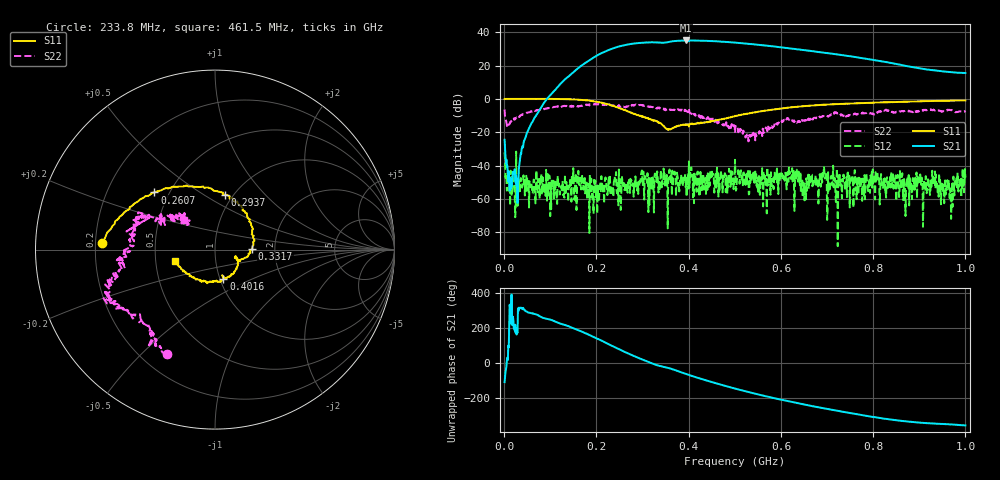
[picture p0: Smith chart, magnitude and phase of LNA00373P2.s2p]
! Created with skrf 1.9.0 (http://scikit-rf.org).
# Hz S RI R 50.0
!freq ReS11 ImS11 ReS21 ImS21 ReS12 ImS12 ReS22 ImS22
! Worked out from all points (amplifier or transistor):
!   1001 points, 1 MHz to 1 GHz, reference 50 ohm
!   highest |S21| = 35.1 dB at 394.6 MHz (marker M1)
!   |S21| within 3 dB of that: 258 MHz to 565.2 MHz (307.2 MHz wide, 74.6 % of centre)
!   unconditionally stable (mu >= 1): 298.8 MHz to 400.4 MHz; 400.8 MHz to 500.4 MHz; 500.6 MHz to end of sweep (the widest 3 of 36)
!   at 166.8 MHz: K = 1.68, MAG = 32.3 dB, |S12| = -54.4 dB
!   at 500.5 MHz: K = 0.96, MSG = 35.2 dB, |S12| = -36.6 dB
!   at 1 GHz: K = 3.48, MAG = 23.0 dB, |S12| = -47.2 dB
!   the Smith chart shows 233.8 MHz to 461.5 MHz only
!   S11 on the Smith chart (normalised r, x): 233.8 MHz: 0.23, +0.03; 260.7 MHz: 0.42, +0.34; 293.7 MHz: 0.92, +0.62; 331.7 MHz: 1.52, +0.01; 401.6 MHz: 1.04, -0.35; 461.5 MHz: 0.63, -0.09
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1000000  0.9938 0.0125  -0.0173 -0.0566  -0.0232 0.00891  0.3057 0.367
1.07893e8  0.5222 -0.8474  -0.7928 -1.506  0.000933 -0.000365  0.4291 -0.3852
1.67833e8  -0.2499 -0.8975  -10.04 -0.3596  0.00456 -0.00093  0.0224 -0.6272
2.05795e8  -0.6631 -0.443  -15.71 14.93  -0.000922 -0.000136  -0.1955 -0.6718
2.33767e8  -0.6307 0.0351  -5.548 31.58  0.00189 -0.000278  -0.2668 -0.5792
2.6074e8  -0.3375 0.3182  16.23 37.55  -0.000794 0.00164  -0.3991 -0.4101
2.93707e8  0.0555 0.3045  41.95 22.57  -0.00236 -0.000424  -0.5973 -0.2602
3.11689e8  0.1778 0.1915  48.56 7.849  -0.00427 0.000628  -0.5788 -0.1777
3.31669e8  0.2066 0.00193  48.35 -8.714  0.00445 0.00498  -0.5017 -0.1038
3.34666e8  0.1966 -0.0132  47.83 -10.9  0.00103 0.00115  -0.536 -0.0649
3.68632e8  0.1256 -0.0605  43.62 -32.4  0.0011 0.00498  -0.4538 0.1455
3.94606e8  0.0803 -0.1523  27.64 -49.44  -0.00135 0.00395  -0.4077 0.1759
4.01599e8  0.0468 -0.1642  22.18 -51.95  0.0019 0.00106  -0.3596 0.1835
4.31569e8  -0.1025 -0.1649  -1.757 -55.53  0.00485 0.00289  -0.2196 0.1665
4.61539e8  -0.2226 -0.0646  -22.82 -48.07  0.00398 0.00769  -0.1705 0.1648
5.005e8  -0.2733 0.1452  -39.52 -28.84  0.0137 0.00572  -0.0766 0.0562
5.4046e8  -0.1861 0.3428  -42.75 -7.212  0.00575 0.00207  -0.0961 -0.000819
5.85415e8  0.00765 0.4839  -35.41 11.9  0.00326 -0.00194  -0.1395 -0.0648
6.67333e8  0.4004 0.4868  -12.04 24.1  0.00447 -0.00283  -0.2498 -0.0556
7.53247e8  0.674 0.2709  4.858 18.03  -0.00253 -0.00403  -0.3253 0.0194
8.34166e8  0.794 0.014  9.276 8.087  -0.00264 0.00261  -0.429 0.0813
1e9  0.7233 -0.5329  5.942 0.5971  -0.00238 -0.00364  -0.1664 0.362
